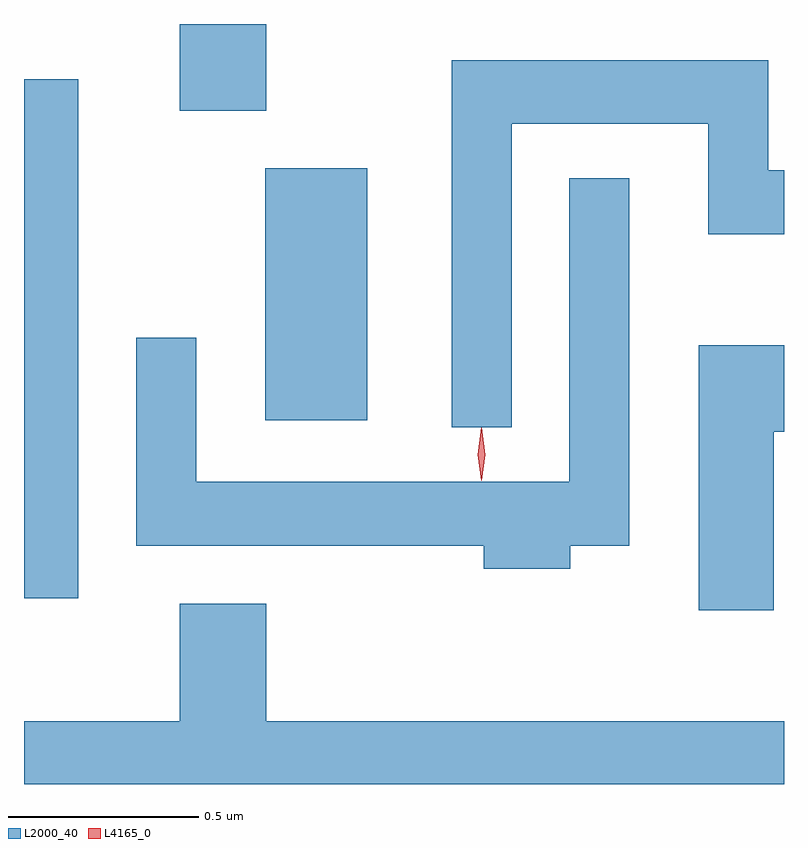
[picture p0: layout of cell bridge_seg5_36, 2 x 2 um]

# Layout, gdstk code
import gdstk
lib = gdstk.Library(unit=1e-6, precision=1e-09)
def R(c, l, rs):  # rectangles x0, y0, x1, y1
    for r in rs: c.add(gdstk.rectangle(r[:2], r[2:], *l))
def P(c, l, *ps):  # polygons
    for p in ps: c.add(gdstk.Polygon(p, *l))
L2000_40 = (2000, 40)
L4165_0 = (4165, 0)

bridge_seg5_36 = lib.new_cell('bridge_seg5_36')
R(bridge_seg5_36, L2000_40, [(1337.951,1468.488,1338.094,1469.854), (1338.586,1468.956,1338.854,1469.619), (1338.361,1469.771,1338.589,1469.999)])
P(bridge_seg5_36, L2000_40, [(1339.234,1469.736),(1339.751,1469.736),(1339.751,1469.446),(1339.951,1469.446),(1339.951,1469.614),(1339.909,1469.614),(1339.909,1469.904),(1339.076,1469.904),(1339.076,1468.938),(1339.234,1468.938)],
  [(1339.389,1468.626),(1339.544,1468.626),(1339.544,1469.593),(1339.386,1469.593),(1339.386,1468.794),(1338.404,1468.794),(1338.404,1469.173),(1338.246,1469.173),(1338.246,1468.626),(1339.161,1468.626),(1339.161,1468.566),(1339.389,1468.566)],
  [(1339.924,1468.926),(1339.951,1468.926),(1339.951,1469.154),(1339.726,1469.154),(1339.726,1468.456),(1339.924,1468.456)],
  [(1339.951,1468.164),(1338.589,1468.164),(1338.589,1468.474),(1338.361,1468.474),(1338.361,1468.164),(1337.951,1468.164),(1337.951,1467.999),(1339.951,1467.999)])
P(bridge_seg5_36, L4165_0, [(1339.155,1468.797),(1339.154,1468.798),(1339.145,1468.866),(1339.154,1468.936),(1339.155,1468.936),(1339.156,1468.936),(1339.165,1468.866),(1339.156,1468.798)])

lib.write_gds('bridge_seg5_36.gds')
